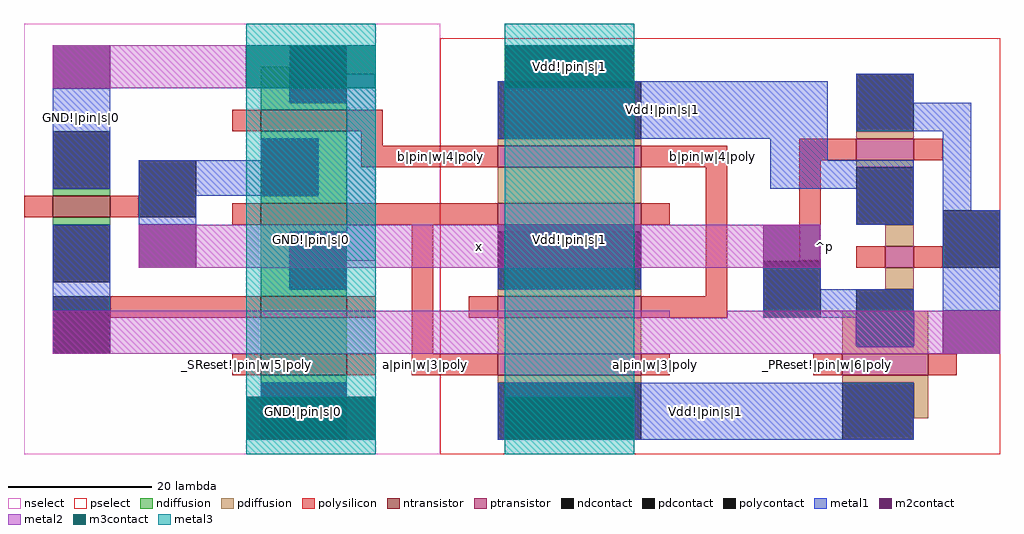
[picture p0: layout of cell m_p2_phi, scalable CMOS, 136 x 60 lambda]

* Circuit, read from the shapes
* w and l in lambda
.subckt m_p2_phi GND!|pin|s|0 Vdd!|pin|s|1 _PReset!|pin|w|6|poly _SReset!|pin|w|5|poly a|pin|w|3|poly b|pin|w|4|poly x
M1 GND!|pin|s|0 x n1 VSUBS nfet w=8 l=3
M2 n2 _SReset!|pin|w|5|poly GND!|pin|s|0 VSUBS nfet w=12 l=3
M3 n3 n1 n2 VSUBS nfet w=12 l=3
M4 x a|pin|w|3|poly n3 VSUBS nfet w=12 l=3
M5 n3 b|pin|w|4|poly x VSUBS nfet w=12 l=3
M6 n4 a|pin|w|3|poly Vdd!|pin|s|1 NWELL pfet w=20 l=3
M7 x b|pin|w|4|poly n4 NWELL pfet w=20 l=3
M8 n5 a|pin|w|3|poly x NWELL pfet w=20 l=3
M9 Vdd!|pin|s|1 b|pin|w|4|poly n5 NWELL pfet w=20 l=3
M10 x _PReset!|pin|w|6|poly Vdd!|pin|s|1 NWELL pfet w=12 l=3
M11 n1 x Vdd!|pin|s|1 NWELL pfet w=8 l=3
M12 Vdd!|pin|s|1 n1 x NWELL pfet w=4 l=3
.ends

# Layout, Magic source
magic
tech scmos
<< nselect >>
rect -58 -39 0 21
<< pselect >>
rect 0 -39 78 19
<< ndiffusion >>
rect -25 10 -21 15
rect -25 9 -13 10
rect -25 5 -13 6
rect -54 -3 -46 -2
rect -17 -3 -13 5
rect -25 -4 -13 -3
rect -54 -7 -46 -6
rect -25 -8 -13 -7
rect -25 -16 -21 -8
rect -25 -17 -13 -16
rect -25 -25 -13 -20
rect -25 -29 -13 -28
<< pdiffusion >>
rect 58 5 66 6
rect 8 4 28 5
rect 8 -4 28 1
rect 8 -8 28 -7
rect 8 -17 28 -16
rect 58 1 66 2
rect 62 -10 66 -7
rect 62 -16 66 -13
rect 8 -25 28 -20
rect 56 -24 58 -19
rect 66 -24 68 -19
rect 56 -25 68 -24
rect 8 -29 28 -28
rect 56 -29 68 -28
rect 66 -34 68 -29
<< ntransistor >>
rect -25 6 -13 9
rect -54 -6 -46 -3
rect -25 -7 -13 -4
rect -25 -20 -13 -17
rect -25 -28 -13 -25
<< ptransistor >>
rect 8 1 28 4
rect 8 -7 28 -4
rect 58 2 66 5
rect 8 -20 28 -17
rect 62 -13 66 -10
rect 8 -28 28 -25
rect 56 -28 68 -25
<< polysilicon >>
rect -29 6 -25 9
rect -13 6 -8 9
rect -58 -6 -54 -3
rect -46 -6 -42 -3
rect -11 4 -8 6
rect -11 1 8 4
rect 28 1 40 4
rect -29 -7 -25 -4
rect -13 -7 8 -4
rect 28 -7 32 -4
rect -46 -20 -25 -17
rect -13 -20 -9 -17
rect -4 -25 -1 -7
rect 37 -17 40 1
rect 50 2 58 5
rect 66 2 70 5
rect 50 -12 53 2
rect 4 -20 8 -17
rect 28 -20 40 -17
rect 58 -13 62 -10
rect 66 -13 70 -10
rect -29 -28 -25 -25
rect -13 -28 -9 -25
rect -4 -28 8 -25
rect 28 -28 32 -25
rect 52 -28 56 -25
rect 68 -28 72 -25
<< ndcontact >>
rect -21 10 -13 18
rect -54 -2 -46 6
rect -25 -3 -17 5
rect -54 -15 -46 -7
rect -21 -16 -13 -8
rect -25 -37 -13 -29
<< pdcontact >>
rect 8 5 28 13
rect 58 6 66 14
rect 8 -16 28 -8
rect 58 -7 66 1
rect 58 -24 66 -16
rect 8 -37 28 -29
rect 56 -37 66 -29
<< polycontact >>
rect -42 -6 -34 2
rect -54 -25 -46 -17
rect 45 -20 53 -12
rect 70 -13 78 -5
<< metal1 >>
rect -54 -2 -46 12
rect -21 14 -13 18
rect -21 10 -9 14
rect -25 2 -17 5
rect -42 -3 -17 2
rect -42 -7 -34 -3
rect -54 -19 -46 -7
rect -13 -8 -9 10
rect 8 12 9 13
rect 27 12 54 13
rect 8 5 54 12
rect 58 10 66 14
rect 58 6 74 10
rect 46 2 54 5
rect 46 -2 66 2
rect 58 -7 66 -2
rect 70 -5 74 6
rect -21 -12 -9 -8
rect -21 -16 -13 -12
rect 8 -16 28 -13
rect 45 -16 53 -13
rect 45 -20 66 -16
rect 58 -24 66 -20
rect 70 -19 78 -5
rect -25 -31 -13 -29
rect 8 -31 66 -29
rect 8 -37 9 -31
rect 27 -37 66 -31
<< m2contact >>
rect -54 12 -46 18
rect -42 -13 -34 -7
rect 9 12 27 18
rect 8 -13 28 -7
rect 45 -13 53 -7
rect -54 -25 -46 -19
rect 70 -25 78 -19
rect -27 -37 -9 -31
rect 9 -37 27 -31
<< metal2 >>
rect -54 12 -27 18
rect -42 -13 53 -7
rect -54 -20 32 -19
rect 40 -20 78 -19
rect -54 -25 78 -20
<< m3contact >>
rect -27 12 -9 18
rect 9 12 27 18
rect -27 -37 -9 -31
rect 9 -37 27 -31
<< metal3 >>
rect -27 -39 -9 21
rect 9 -39 27 21
<< labels >>
rlabel metal2 -42 -13 53 -7 1 x
rlabel space 28 -39 79 19 3 ^p
rlabel metal3 -27 -39 -9 21 1 GND!|pin|s|0
rlabel metal3 9 -39 27 21 1 Vdd!|pin|s|1
rlabel metal1 -54 -2 -46 18 1 GND!|pin|s|0
rlabel metal1 -25 -37 -13 -29 1 GND!|pin|s|0
rlabel metal1 -27 -37 -9 -31 1 GND!|pin|s|0
rlabel metal1 9 12 27 18 1 Vdd!|pin|s|1
rlabel metal1 8 5 54 13 1 Vdd!|pin|s|1
rlabel metal1 8 -37 66 -29 1 Vdd!|pin|s|1
rlabel polysilicon -4 -28 0 -25 1 a|pin|w|3|poly
rlabel polysilicon 28 -28 32 -25 1 a|pin|w|3|poly
rlabel polysilicon -2 1 2 4 1 b|pin|w|4|poly
rlabel polysilicon 36 1 40 4 1 b|pin|w|4|poly
rlabel polysilicon -29 -28 -25 -25 1 _SReset!|pin|w|5|poly
rlabel polysilicon 52 -28 56 -25 1 _PReset!|pin|w|6|poly
rlabel polysilicon 68 -28 72 -25 1 _PReset!|pin|w|6|poly
<< end >>
